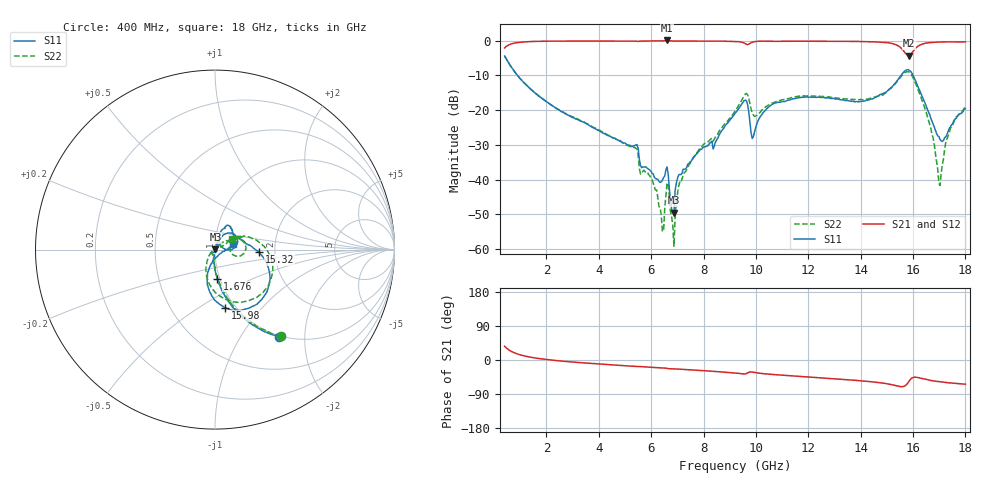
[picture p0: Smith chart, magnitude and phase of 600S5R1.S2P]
!  American Technical Ceramics  Date:  10/26/00
!  One Norden Lane
!  Huntington Station,  NY.  11746-2102
!  Tel:  (631) 622-4700  Fax:  (631) 622-4748
!  Part Number  600S5R1  Mounting Orientation: Horizontal
!  Description: Ultra Low ESR Microwave capacitors
!  Application: Coupling, Bypass, Tuning, DC Block
!  Filters, Matching
# GHZ S DB R 50
! Freq  |S11|  S11 Ph  |S21|  S21 Ph  |S12|  S12 Ph  |S22|  S22 Ph
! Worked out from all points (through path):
!   401 points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, 400 MHz to 18 GHz, reference 50 ohm
!   highest |S21| = 0.09 dB at 6.604 GHz (marker M1); lowest = -4.3 dB at 15.84 GHz (marker M2)
!   group delay of S21, straight-line fit = 12.2 ps
!   lowest |S11| = -49.6 dB at 6.868 GHz (marker M3), VSWR 1.01, Z = 50.3 + j0.183 ohm
!   |S11| at or under -10 dB: 892.8 MHz to 15.54 GHz (14.65 GHz wide, 178 % of centre); 16 GHz to end of sweep
!   |S22| runs from -59.2 to -4.4 dB; largest |S21 - S12| = 0.0085
!   S11 on the Smith chart (normalised r, x): 400 MHz: 0.98, -1.50; 1.676 GHz: 0.97, -0.32; 15.32 GHz: 1.65, -0.05; 15.98 GHz: 0.90, -0.66; 18 GHz: 1.22, +0.07
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0.4  -4.40 -53.6  -2.08 36.2  -2.08 36.2  -4.36 -52.8
1.676  -15.79 -85.5  -0.17 4.2  -0.18 4.1  -15.70 -84.3
3.348  -23.28 -95.8  -0.08 -7.2  -0.08 -7.2  -23.17 -94.3
5.372  -30.22 -99.7  -0.08 -17.1  -0.08 -17.0  -30.76 -118.4
6.296  -40.56 -55.6  -0.05 -20.6  -0.05 -20.4  -47.84 -124.6
6.428  -40.14 -41.1  -0.04 -21.0  -0.03 -20.9  -54.92 -149.7
6.604  -36.34 -54.4  0.09 -22.2  0.09 -22.0  -41.02 12.4
6.868  -49.60 33.4  -0.08 -23.6  -0.08 -23.5  -59.22 49.5
7.352  -36.57 36.1  -0.07 -25.4  -0.07 -25.2  -37.19 62.8
9.2  -20.91 61.3  -0.20 -34.2  -0.19 -34.0  -20.26 31.5
9.596  -17.11 30.2  -0.85 -36.8  -0.84 -36.6  -15.36 11.1
9.904  -27.56 49.5  -0.32 -32.3  -0.30 -32.1  -21.43 -4.0
10.608  -18.38 69.5  -0.15 -38.1  -0.14 -38.0  -18.01 25.7
12.148  -16.24 58.5  -0.14 -45.5  -0.14 -45.3  -15.97 26.7
15.096  -13.93 5.8  -0.62 -63.9  -0.61 -63.6  -13.99 20.9
15.316  -12.22 -3.1  -1.05 -67.1  -1.03 -66.7  -12.45 12.4
15.844  -8.48 -60.1  -4.26 -56.4  -4.24 -56.1  -9.03 -49.1
15.976  -9.62 -79.8  -3.29 -46.9  -3.27 -46.7  -10.28 -71.6
16.592  -20.51 -106.8  -0.57 -52.9  -0.56 -52.6  -22.88 -125.9
16.988  -27.61 -73.2  -0.37 -57.2  -0.36 -56.8  -41.05 174.7
17.384  -25.25 -8.1  -0.32 -60.3  -0.31 -60.0  -26.47 46.3
18  -19.58 16.5  -0.32 -63.8  -0.31 -63.5  -19.24 32.4
